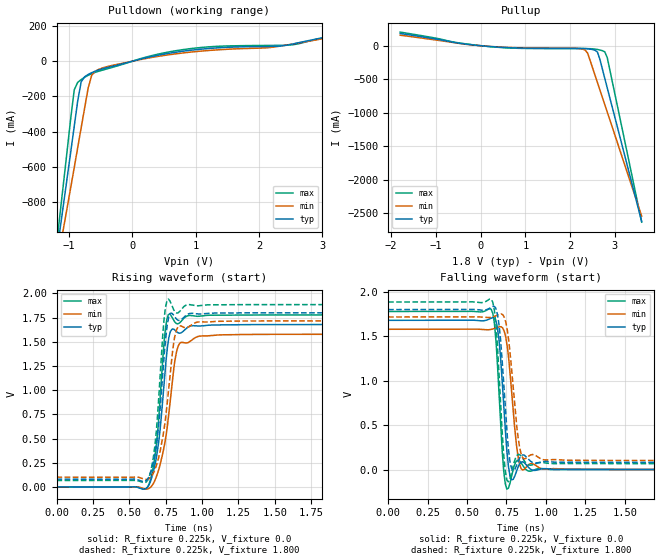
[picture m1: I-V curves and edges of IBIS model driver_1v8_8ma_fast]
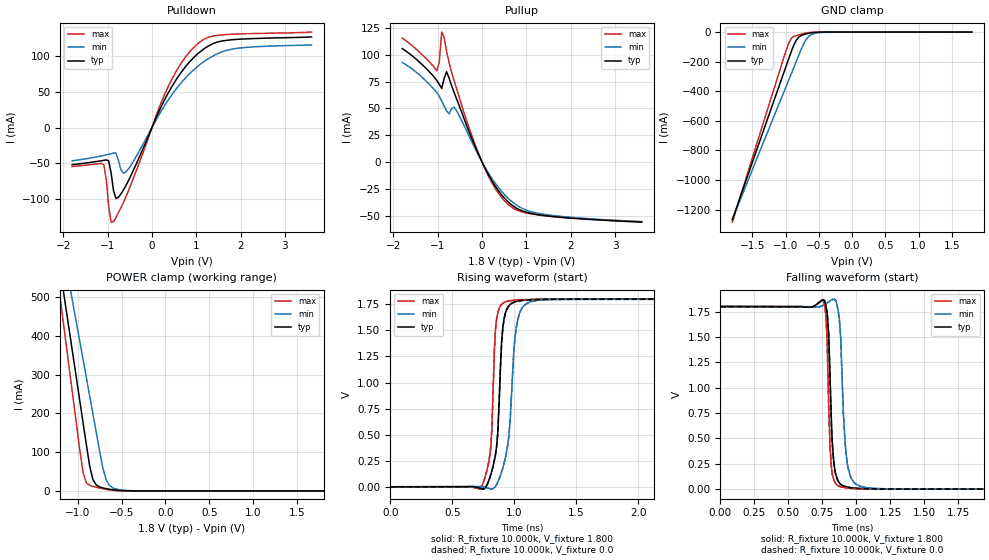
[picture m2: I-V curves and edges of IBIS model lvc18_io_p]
| Copyright (C)2014-2022 Gowin Semiconductor Corporation.
| All rights reserved.
| File Title: IBIS file
| GOWIN Version: V1.9.8.09
| Part Number: GW1NR-LV9QN88PC6/I5
| Device: GW1NR-9C
| Created Time: Sat Jun 24 20:41:17 2023
[IBIS ver] 5.0
[File Rev] 1.0
[File Name] telinha_labirinto.ibs
[Date] Sat Jun 24 20:41:17 2023
[Source] Pre_simulation netlist
[Notes] Version 1.0 IBIS Model
[Copyright] Copyright 2022, Gowinsemi inc.
|   Component GW1NR-9C
[Component] GW1NR-9C
[Manufacturer] Gowinsemi Inc.
[Package]
| variable   typ   min   max
R_pkg   2.000m   1.000m   4.000m
L_pkg   0.200nH   0.100nH   0.400nH
C_pkg   2.000pF   1.000pF   4.000pF
[Pin]  signal_name   model_name   R_pin   L_pin   C_pin
52   sys_clk   lvc18_io_p
4   start   lvc18_io_p
3   vram_write_cmd   lvc18_io_p
69   entrada_pontuacao[0] lvc18_io_p
68   entrada_pontuacao[1] lvc18_io_p
57   entrada_pontuacao[2] lvc18_io_p
56   entrada_pontuacao[3] lvc18_io_p
83   led_setup   driver_1v8_8ma_fast
50   led_writing   driver_1v8_8ma_fast
86   led_done   driver_1v8_8ma_fast
31   top_led_sck   driver_1v8_8ma_fast
79   top_led_mosi   driver_1v8_8ma_fast
36   top_mosi   driver_1v8_8ma_fast
38   top_cs   driver_1v8_8ma_fast
39   top_sck   driver_1v8_8ma_fast
37   top_dc   driver_1v8_8ma_fast
10   led_idle   driver_1v8_8ma_fast
53   saida_reset   driver_1v8_8ma_fast
| Models and submodels in the file (2): driver_1v8_8ma_fast (Output), lvc18_io_p (I/O)
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|   Model driver_1v8_8ma_fast
[Model] driver_1v8_8ma_fast
Model_type Output
Polarity   Non-Inverting
C_comp   1.295pF   1.385pF   1.091pF
[Temperature Range]   25.000   0.125k   -40.000
[Voltage Range]   1.800V   1.710V   1.890V
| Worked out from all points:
|   slope of the pulldown table from 0 to 0.27 V, typ, clamps not added: 11.4 ohm
|   slope of the pullup table from 0 to 0.27 V, typ, clamps not added: 17.5 ohm
|   rising waveform, R_fixture 0.225k, V_fixture 0.0: 20-80 % time 65.3ps typ, 83.6ps min, 54.9ps max; typ from 0 V to 1.68 V
|   rising waveform, R_fixture 0.225k, V_fixture 1.800: 20-80 % time 60.3ps typ, 77.7ps min, 51ps max; typ from 0.08 V to 1.8 V
|   falling waveform, R_fixture 0.225k, V_fixture 0.0: 20-80 % time 38.5ps typ, 47.7ps min, 33.5ps max; typ from 1.68 V to 0 V
|   falling waveform, R_fixture 0.225k, V_fixture 1.800: 20-80 % time 40.2ps typ, 51.3ps min, 34.7ps max; typ from 1.8 V to 0.08 V
[Pulldown]
|Voltage   I(typ)   I(min)   I(max)
-1.8V     -2.658A    -2.385A    -2.966A
-1.195V   -1.084A    -1.16A     -1.028A
-1.14V    -941.3mA   -1.048A    -851.5mA
-1.085V   -798.6mA   -937.3mA   -675.4mA
-920mV    -369.3mA   -602.5mA   -162.2mA
-810mV    -116.5mA   -376.4mA   -103.9mA
-700mV    -75.2mA    -152.7mA   -80.17mA
-590mV    -56.95mA   -57.47mA   -63.35mA
70mV      6.695mA    5.299mA    8.108mA
1.06V     67.37mA    56.34mA    76.8mA
2.545V    98.19mA    98.02mA    93.83mA
3.6V      179.8mA    164.6mA    181.7mA
[Pullup]
|Voltage   I(typ)   I(min)   I(max)
-1.8V     182.1mA    156.6mA    203mA
-525mV    41.36mA    38.25mA    46.02mA
190mV     -11.32mA   -9.844mA   -12.93mA
905mV     -35.45mA   -31.95mA   -39.57mA
2.28V     -40.23mA   -50.02mA   -43.68mA
2.335V    -41.93mA   -64.07mA   -43.75mA
2.39V     -45.1mA    -109.1mA   -43.89mA
2.61V     -93.35mA   -547.8mA   -55.69mA
2.665V    -201.5mA   -658.9mA   -63.74mA
2.775V    -486.4mA   -879.2mA   -91.36mA
2.83V     -627.9mA   -989.2mA   -176.1mA
3.6V      -2.619A    -2.539A    -2.63A
[Ramp]
| variable   typ   min   max
dV/dt_r   0.772/99.581p   0.704/0.112n   0.842/91.704p
dV/dt_f   0.875/85.778p   0.792/96.813p   0.950/83.942p
R_load = 50.000
[Rising Waveform]
R_fixture= 0.225k
V_fixture= 0.0
|time   V(typ)   V(min)   V(max)
0s        0V         707.3nV    0V
626ps     -1.523mV   -20.48mV   -731.6uV
665ps     153.3mV    33.85mV    203.1mV
696ps     397.8mV    147.3mV    583.5mV
747ps     1.211V     477mV      1.615V
777ps     1.574V     825.6mV    1.789V
811ps     1.624V     1.283V     1.71V
835ps     1.594V     1.451V     1.686V
984ps     1.663V     1.559V     1.764V
5ns       1.679V     1.578V     1.778V
[Rising Waveform]
R_fixture= 0.225k
V_fixture= 1.800
|time   V(typ)   V(min)   V(max)
0s        80.25mV    100.8mV    66.41mV
625ps     79.06mV    79.49mV    65.24mV
656ps     197.6mV    118mV      220.1mV
688ps     453.4mV    229mV      611.9mV
738ps     1.323V     588mV      1.72V
768ps     1.733V     971.8mV    1.942V
801ps     1.783V     1.443V     1.846V
824ps     1.736V     1.62V      1.799V
974ps     1.787V     1.705V     1.872V
5ns       1.8V       1.716V     1.885V
[Falling Waveform]
R_fixture= 0.225k
V_fixture= 0.0
|time   V(typ)   V(min)   V(max)
0s        1.679V     1.578V     1.779V
654ps     1.705V     1.577V     1.801V
674ps     1.703V     1.588V     1.644V
702ps     1.48V      1.606V     895.7mV
732ps     749.7mV    1.572V     5.082mV
753ps     209.6mV    1.412V     -220.8mV
783ps     -114.1mV   877.6mV    -74.2mV
822ps     20.28mV    161.7mV    104.6mV
852ps     86.67mV    -5.369mV   51.15mV
5ns       62.7uV     96.46uV    42.64uV
[Falling Waveform]
R_fixture= 0.225k
V_fixture= 1.800
|time   V(typ)   V(min)   V(max)
0s        1.8V       1.717V     1.885V
654ps     1.825V     1.713V     1.916V
683ps     1.812V     1.73V      1.643V
702ps     1.651V     1.745V     1.119V
733ps     963.3mV    1.725V     163.3mV
762ps     242.4mV    1.487V     -137.6mV
784ps     7.043mV    1.105V     -24.03mV
823ps     85.87mV    373.4mV    167.4mV
863ps     161.7mV    119.9mV    99.13mV
5ns       80.32mV    101mV      66.46mV
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|   Model lvc18_io_p
[Model] lvc18_io_p
Model_type I/O
Polarity   Non-Inverting
Enable   Active-Low
Vmeas =  0.900V
C_comp   1.135pF   1.094pF   1.178pF
C_comp_pullup   0.152pF   0.147pF   0.157pF
C_comp_pulldown   0.171pF   0.168pF   0.174pF
[Model Spec]
Vmeas   0.900V   0.900V   0.900V
[Temperature Range]   25.000   0.125k   -40.000
[Voltage Range]   1.800V   1.800V   1.800V
[Pullup Reference]   1.800V   1.800V   1.800V
[POWER Clamp Reference]   1.800V   1.800V   1.800V
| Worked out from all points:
|   slope of the pulldown table from 0 to 0.27 V, typ, clamps not added: 7.29 ohm
|   slope of the pullup table from 0 to 0.27 V, typ, clamps not added: 13.1 ohm
|   GND clamp passes 1 mA (typ) near -0.52 V on its own axis
|   POWER clamp passes 1 mA (typ) near -0.51 V on its own axis
|   rising waveform, R_fixture 10.000k, V_fixture 1.800: 20-80 % time 46.6ps typ, 65.2ps min, 36.7ps max; typ from 0.001 V to 1.8 V
|   rising waveform, R_fixture 10.000k, V_fixture 0.0: 20-80 % time 46.5ps typ, 65.2ps min, 36.6ps max; typ from 0 V to 1.8 V
|   falling waveform, R_fixture 10.000k, V_fixture 1.800: 20-80 % time 29.9ps typ, 37.5ps min, 23.5ps max; typ from 1.8 V to 0.001 V
|   falling waveform, R_fixture 10.000k, V_fixture 0.0: 20-80 % time 29.8ps typ, 37.4ps min, 23.5ps max; typ from 1.8 V to 0 V
[Pulldown]
|Voltage   I(typ)   I(min)   I(max)
-1.8V     -52mA      -46.62mA   -54.65mA
-1.085V   -45.91mA   -39.06mA   -52.05mA
-975mV    -46.69mA   -37.44mA   -111mA
-920mV    -63.81mA   -36.6mA    -132.7mA
-865mV    -89.05mA   -35.78mA   -131.9mA
-810mV    -99.37mA   -35.75mA   -125.7mA
-700mV    -93.13mA   -58.94mA   -112.7mA
-590mV    -81.7mA    -62.36mA   -97.74mA
345mV     46.01mA    36.61mA    54.49mA
1.005V    102mA      84.45mA    116.2mA
1.83V     123.4mA    110.4mA    131.1mA
3.6V      127.2mA    116mA      134mA
[Pullup]
|Voltage   I(typ)   I(min)   I(max)
-1.8V     105.7mA    92.69mA    115.5mA
-1.02V    75.98mA    64.79mA    85.05mA
-965mV    72.43mA    61.24mA    92.99mA
-910mV    68.61mA    56.76mA    121.1mA
-855mV    77.91mA    51.96mA    115.9mA
-800mV    84.19mA    47.8mA     103.3mA
-580mV    59.42mA    48.21mA    69.09mA
-85mV     7.696mA    6.604mA    8.666mA
245mV     -19.03mA   -16.7mA    -20.97mA
630mV     -38.69mA   -35.36mA   -40.88mA
1.345V    -49.56mA   -48.39mA   -49.74mA
3.6V      -56.09mA   -55.66mA   -55.55mA
[GND_clamp]
|Voltage   I(typ)   I(min)   I(max)
-1.8V     -1.269A    -1.266A    -1.285A
-986mV    -222.7mA   -361.3mA   -115.9mA
-949mV    -175.6mA   -320.5mA   -72.08mA
-912mV    -128.6mA   -279.6mA   -41.51mA
-838mV    -54.25mA   -197.7mA   -23.13mA
-801mV    -33.08mA   -156.5mA   -18.46mA
-727mV    -16.71mA   -79mA      -9.528mA
-690mV    -12.13mA   -50.45mA   -5.976mA
-616mV    -5.482mA   -17.36mA   -1.536mA
-542mV    -1.682mA   -7.105mA   -166.8uA
-320mV    -1.868uA   -148.2uA   -3.895nA
1.8V      5.866pA    0A         0A
[POWER_clamp]
|Voltage   I(typ)   I(min)   I(max)
-1.8V     1.487A     1.427A     1.556A
-1.197V   567.2mA    662.8mA    493.1mA
-1.16V    511mA      616.4mA    428.1mA
-1.086V   398.9mA    523.5mA    298.1mA
-1.049V   342.8mA    477.1mA    233.2mA
-938mV    174.8mA    338.2mA    46.21mA
-864mV    64.72mA    245.6mA    14.27mA
-827mV    29.49mA    199.3mA    11.61mA
-716mV    7.849mA    62.02mA    5.748mA
-679mV    5.979mA    30.37mA    4.123mA
-605mV    3.164mA    8.36mA     1.656mA
1.8V      0A         0A         0A
[Ramp]
| variable   typ   min   max
dV/dt_r   1.079/54.990p   1.079/75.177p   1.079/41.165p
dV/dt_f   1.079/32.459p   1.079/40.901p   1.079/29.066p
R_load = 10.000k
[Rising Waveform]
R_fixture= 10.000k
V_fixture= 1.800
|time   V(typ)   V(min)   V(max)
0s        1.185mV    1.518mV    984.5uV
735ps     -16.86mV   3.084mV    -412.5uV
811ps     119.5mV    -18.37mV   388.5mV
839ps     251.1mV    -6.999mV   1.3V
856ps     370.1mV    20.16mV    1.591V
897ps     1.376V     139.7mV    1.748V
934ps     1.685V     313.5mV    1.776V
1.017ns   1.779V     1.533V     1.791V
1.126ns   1.794V     1.772V     1.796V
5ns       1.8V       1.8V       1.8V
[Rising Waveform]
R_fixture= 10.000k
V_fixture= 0.0
|time   V(typ)   V(min)   V(max)
0s        0V         1.146uV    0V
769ps     -5.386mV   -7.859mV   111.7mV
811ps     118.2mV    -19.91mV   385.3mV
839ps     249.3mV    -8.543mV   1.294V
858ps     390.7mV    22.33mV    1.609V
897ps     1.371V     137.9mV    1.746V
943ps     1.708V     369mV      1.778V
1.018ns   1.777V     1.537V     1.789V
1.135ns   1.792V     1.773V     1.795V
5ns       1.798V     1.798V     1.798V
[Falling Waveform]
R_fixture= 10.000k
V_fixture= 1.800
|time   V(typ)   V(min)   V(max)
0s        1.8V       1.8V       1.8V
755ps     1.867V     1.812V     1.864V
784ps     1.748V     1.834V     1.522V
796ps     1.557V     1.846V     873mV
814ps     767.7mV    1.862V     258.4mV
865ps     85.07mV    1.775V     35.17mV
892ps     41.42mV    1.238V     21.74mV
935ps     20.82mV    243.6mV    11.63mV
1.053ns   5.307mV    21.83mV    3.851mV
5ns       1.185mV    1.518mV    984.5uV
[Falling Waveform]
R_fixture= 10.000k
V_fixture= 0.0
|time   V(typ)   V(min)   V(max)
0s        1.798V     1.798V     1.798V
755ps     1.865V     1.809V     1.862V
784ps     1.745V     1.832V     1.517V
796ps     1.553V     1.844V     866.2mV
814ps     761.4mV    1.859V     255.6mV
865ps     83.49mV    1.772V     34.07mV
892ps     40.11mV    1.23V      20.71mV
935ps     19.58mV    240.6mV    10.62mV
1.053ns   4.111mV    20.23mV    2.861mV
5ns       0V         1.145uV    0V
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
